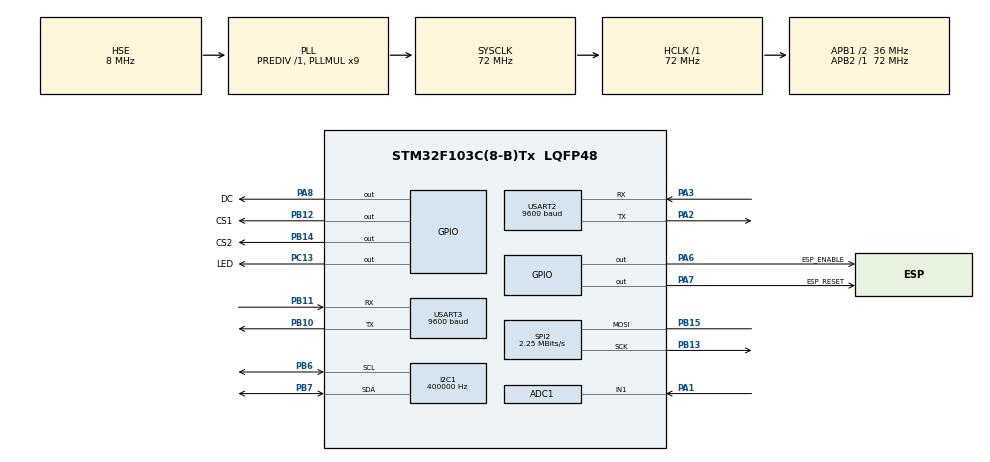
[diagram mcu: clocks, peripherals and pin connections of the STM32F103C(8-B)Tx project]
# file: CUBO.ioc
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ADC1.Channel-0\#ChannelRegularConversion=ADC_CHANNEL_TEMPSENSOR
ADC1.Channel-1\#ChannelRegularConversion=ADC_CHANNEL_VREFINT
ADC1.Channel-2\#ChannelRegularConversion=ADC_CHANNEL_1
ADC1.ContinuousConvMode=ENABLE
ADC1.NbrOfConversion=3
ADC1.NbrOfConversionFlag=1
ADC1.Rank-0\#ChannelRegularConversion=1
ADC1.Rank-1\#ChannelRegularConversion=2
ADC1.Rank-2\#ChannelRegularConversion=3
ADC1.SamplingTime-0\#ChannelRegularConversion=ADC_SAMPLETIME_71CYCLES_5
ADC1.SamplingTime-1\#ChannelRegularConversion=ADC_SAMPLETIME_71CYCLES_5
ADC1.SamplingTime-2\#ChannelRegularConversion=ADC_SAMPLETIME_71CYCLES_5
ADC1.master=1
Dma.ADC1.0.Direction=DMA_PERIPH_TO_MEMORY
Dma.ADC1.0.Instance=DMA1_Channel1
Dma.ADC1.0.MemDataAlignment=DMA_MDATAALIGN_WORD
Dma.ADC1.0.MemInc=DMA_MINC_ENABLE
Dma.ADC1.0.Mode=DMA_CIRCULAR
Dma.ADC1.0.PeriphDataAlignment=DMA_PDATAALIGN_WORD
Dma.ADC1.0.PeriphInc=DMA_PINC_DISABLE
Dma.ADC1.0.Priority=DMA_PRIORITY_LOW
Dma.Request0=ADC1
FREERTOS.Tasks01=defaultTask,0,128,StartDefaultTask,Default,NULL
I2C1.ClockSpeed=400000
I2C1.DutyCycle=I2C_DUTYCYCLE_2
I2C1.I2C_Mode=I2C_Fast
Mcu.Family=STM32F1
Mcu.Name=STM32F103C(8-B)Tx
Mcu.Package=LQFP48
NVIC.DMA1_Channel1_IRQn=true\:5\:0\:false\:false\:true\:true
NVIC.PriorityGroup=NVIC_PRIORITYGROUP_4
NVIC.USART2_IRQn=true\:5\:0\:false\:false\:true\:true
NVIC.USART3_IRQn=true\:5\:0\:false\:false\:true\:true
PA1.Signal=ADCx_IN1
PA13.Mode=Serial_Wire
PA13.Signal=SYS_JTMS-SWDIO
PA14.Mode=Serial_Wire
PA14.Signal=SYS_JTCK-SWCLK
PA2.Mode=Asynchronous
PA2.Signal=USART2_TX
PA3.Mode=Asynchronous
PA3.Signal=USART2_RX
PA6.GPIO_Label=ESP_ENABLE
PA6.Signal=GPIO_Output
PA7.GPIO_Label=ESP_RESET
PA7.Signal=GPIO_Output
PA8.GPIO_Label=DC
PA8.Signal=GPIO_Output
PB10.Mode=Asynchronous
PB10.Signal=USART3_TX
PB11.Mode=Asynchronous
PB11.Signal=USART3_RX
PB12.GPIO_Label=CS1
PB12.Signal=GPIO_Output
PB13.Mode=Simplex_Bidirectional_Master
PB13.Signal=SPI2_SCK
PB14.GPIO_Label=CS2
PB14.Signal=GPIO_Output
PB15.Mode=Simplex_Bidirectional_Master
PB15.Signal=SPI2_MOSI
PB6.Mode=I2C
PB6.Signal=I2C1_SCL
PB7.Mode=I2C
PB7.Signal=I2C1_SDA
PC13-TAMPER-RTC.GPIO_Label=LED
PC13-TAMPER-RTC.Signal=GPIO_Output
PC14-OSC32_IN.Mode=LSE-External-Oscillator
PC14-OSC32_IN.Signal=RCC_OSC32_IN
PC15-OSC32_OUT.Mode=LSE-External-Oscillator
PC15-OSC32_OUT.Signal=RCC_OSC32_OUT
PD0-OSC_IN.Mode=HSE-External-Oscillator
PD0-OSC_IN.Signal=RCC_OSC_IN
PD1-OSC_OUT.Mode=HSE-External-Oscillator
PD1-OSC_OUT.Signal=RCC_OSC_OUT
ProjectManager.HeapSize=0x200
ProjectManager.StackSize=0x400
ProjectManager.TargetToolchain=EWARM
RCC.ADCPresc=RCC_ADCPCLK2_DIV6
RCC.AHBFreq_Value=72000000
RCC.APB1CLKDivider=RCC_HCLK_DIV2
RCC.APB1Freq_Value=36000000
RCC.APB1TimFreq_Value=72000000
RCC.APB2Freq_Value=72000000
RCC.APB2TimFreq_Value=72000000
RCC.HCLKFreq_Value=72000000
RCC.PLLMUL=RCC_PLL_MUL9
RCC.PLLSourceVirtual=RCC_PLLSOURCE_HSE
RCC.RTCClockSelection=RCC_RTCCLKSOURCE_LSE
RCC.SYSCLKFreq_VALUE=72000000
RCC.SYSCLKSource=RCC_SYSCLKSOURCE_PLLCLK
RCC.USBFreq_Value=72000000
SH.ADCx_IN1.0=ADC1_IN1,IN1
SPI2.BaudRatePrescaler=SPI_BAUDRATEPRESCALER_16
SPI2.CalculateBaudRate=2.25 MBits/s
SPI2.Direction=SPI_DIRECTION_1LINE
SPI2.Mode=SPI_MODE_MASTER
SPI2.VirtualType=VM_MASTER
USART2.BaudRate=9600
USART2.VirtualMode=VM_ASYNC
USART3.BaudRate=9600
USART3.VirtualMode=VM_ASYNC
VP_ADC1_TempSens_Input.Mode=IN-TempSens
VP_ADC1_Vref_Input.Mode=IN-Vrefint
VP_FREERTOS_VS_ENABLE.Mode=Enabled
VP_RTC_VS_RTC_Activate.Mode=RTC_Enabled
VP_RTC_VS_RTC_Calendar.Mode=RTC_Calendar
board=CUBO

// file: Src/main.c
/**
  ******************************************************************************
  * File Name          : main.c
  * Description        : Main program body
  ******************************************************************************
  * This notice applies to any and all portions of this file
  * that are not between comment pairs USER CODE BEGIN and
  * USER CODE END. Other portions of this file, whether
  * inserted by the user or by software development tools
  * are owned by their respective copyright owners.
  *
  * Copyright (c) 2018 STMicroelectronics International N.V.
  * All rights reserved.
  *
  * Redistribution and use in source and binary forms, with or without
  * modification, are permitted, provided that the following conditions are met:
  *
  * 1. Redistribution of source code must retain the above copyright notice,
  *    this list of conditions and the following disclaimer.
  * 2. Redistributions in binary form must reproduce the above copyright notice,
  *    this list of conditions and the following disclaimer in the documentation
  *    and/or other materials provided with the distribution.
  * 3. Neither the name of STMicroelectronics nor the names of other
  *    contributors to this software may be used to endorse or promote products
  *    derived from this software without specific written permission.
  * 4. This software, including modifications and/or derivative works of this
  *    software, must execute solely and exclusively on microcontroller or
  *    microprocessor devices manufactured by or for STMicroelectronics.
  * 5. Redistribution and use of this software other than as permitted under
  *    this license is void and will automatically terminate your rights under
  *    this license.
  *
  * THIS SOFTWARE IS PROVIDED BY STMICROELECTRONICS AND CONTRIBUTORS "AS IS"
  * AND ANY EXPRESS, IMPLIED OR STATUTORY WARRANTIES, INCLUDING, BUT NOT
  * LIMITED TO, THE IMPLIED WARRANTIES OF MERCHANTABILITY, FITNESS FOR A
  * PARTICULAR PURPOSE AND NON-INFRINGEMENT OF THIRD PARTY INTELLECTUAL PROPERTY
  * RIGHTS ARE DISCLAIMED TO THE FULLEST EXTENT PERMITTED BY LAW. IN NO EVENT
  * SHALL STMICROELECTRONICS OR CONTRIBUTORS BE LIABLE FOR ANY DIRECT, INDIRECT,
  * INCIDENTAL, SPECIAL, EXEMPLARY, OR CONSEQUENTIAL DAMAGES (INCLUDING, BUT NOT
  * LIMITED TO, PROCUREMENT OF SUBSTITUTE GOODS OR SERVICES; LOSS OF USE, DATA,
  * OR PROFITS; OR BUSINESS INTERRUPTION) HOWEVER CAUSED AND ON ANY THEORY OF
  * LIABILITY, WHETHER IN CONTRACT, STRICT LIABILITY, OR TORT (INCLUDING
  * NEGLIGENCE OR OTHERWISE) ARISING IN ANY WAY OUT OF THE USE OF THIS SOFTWARE,
  * EVEN IF ADVISED OF THE POSSIBILITY OF SUCH DAMAGE.
  *
  ******************************************************************************
  */
#include "main.h"
#include "stm32f1xx_hal.h"
#include "cmsis_os.h"
#include "adc.h"
#include "dma.h"
#include "i2c.h"
#include "rtc.h"
#include "spi.h"
#include "usart.h"
#include "gpio.h"

/* USER CODE BEGIN PV */
/* Private variables ---------------------------------------------------------*/
uint32_t temperatura[5];
/* USER CODE END PV */

void SystemClock_Config(void);
void MX_FREERTOS_Init(void);

/* USER CODE BEGIN PFP */
/* Private function prototypes -----------------------------------------------*/

/* USER CODE END PFP */

int main(void)
{

  /* MCU Configuration----------------------------------------------------------*/

  /* Reset of all peripherals, Initializes the Flash interface and the Systick. */
  HAL_Init();

  /* Configure the system clock */
  SystemClock_Config();

  /* Initialize all configured peripherals */
  MX_GPIO_Init();
  MX_DMA_Init();
  MX_ADC1_Init();
  MX_I2C1_Init();
  MX_SPI2_Init();
  MX_USART2_UART_Init();
  MX_USART3_UART_Init();
  MX_RTC_Init();

  /* USER CODE BEGIN 2 */
  ssd1306_init();
  HAL_ADCEx_Calibration_Start(&hadc1);
  HAL_ADC_Start_DMA(&hadc1, &temperatura[0], 3);

  /* USER CODE END 2 */

  /* Call init function for freertos objects (in freertos.c) */
  MX_FREERTOS_Init();

  /* Start scheduler */
  osKernelStart();

  /* We should never get here as control is now taken by the scheduler */

  /* Infinite loop */
  while (1)
  {

  /* USER CODE BEGIN 3 */
  // Teste de Brach
  }
  /* USER CODE END 3 */

}

/** System Clock Configuration
*/
void SystemClock_Config(void)
{

  RCC_OscInitTypeDef RCC_OscInitStruct;
  RCC_ClkInitTypeDef RCC_ClkInitStruct;
  RCC_PeriphCLKInitTypeDef PeriphClkInit;

    /**Initializes the CPU, AHB and APB busses clocks
    */
  RCC_OscInitStruct.OscillatorType = RCC_OSCILLATORTYPE_HSE|RCC_OSCILLATORTYPE_LSE;
  RCC_OscInitStruct.HSEState = RCC_HSE_ON;
  RCC_OscInitStruct.HSEPredivValue = RCC_HSE_PREDIV_DIV1;
  RCC_OscInitStruct.LSEState = RCC_LSE_ON;
  RCC_OscInitStruct.HSIState = RCC_HSI_ON;
  RCC_OscInitStruct.PLL.PLLState = RCC_PLL_ON;
  RCC_OscInitStruct.PLL.PLLSource = RCC_PLLSOURCE_HSE;
  RCC_OscInitStruct.PLL.PLLMUL = RCC_PLL_MUL9;
  if (HAL_RCC_OscConfig(&RCC_OscInitStruct) != HAL_OK)
  {
    _Error_Handler(__FILE__, __LINE__);
  }

    /**Initializes the CPU, AHB and APB busses clocks
    */
  RCC_ClkInitStruct.ClockType = RCC_CLOCKTYPE_HCLK|RCC_CLOCKTYPE_SYSCLK
                              |RCC_CLOCKTYPE_PCLK1|RCC_CLOCKTYPE_PCLK2;
  RCC_ClkInitStruct.SYSCLKSource = RCC_SYSCLKSOURCE_PLLCLK;
  RCC_ClkInitStruct.AHBCLKDivider = RCC_SYSCLK_DIV1;
  RCC_ClkInitStruct.APB1CLKDivider = RCC_HCLK_DIV2;
  RCC_ClkInitStruct.APB2CLKDivider = RCC_HCLK_DIV1;

  if (HAL_RCC_ClockConfig(&RCC_ClkInitStruct, FLASH_LATENCY_2) != HAL_OK)
  {
    _Error_Handler(__FILE__, __LINE__);
  }

  PeriphClkInit.PeriphClockSelection = RCC_PERIPHCLK_RTC|RCC_PERIPHCLK_ADC;
  PeriphClkInit.RTCClockSelection = RCC_RTCCLKSOURCE_LSE;
  PeriphClkInit.AdcClockSelection = RCC_ADCPCLK2_DIV6;
  if (HAL_RCCEx_PeriphCLKConfig(&PeriphClkInit) != HAL_OK)
  {
    _Error_Handler(__FILE__, __LINE__);
  }

    /**Configure the Systick interrupt time
    */
  HAL_SYSTICK_Config(HAL_RCC_GetHCLKFreq()/1000);

    /**Configure the Systick
    */
  HAL_SYSTICK_CLKSourceConfig(SYSTICK_CLKSOURCE_HCLK);

  /* SysTick_IRQn interrupt configuration */
  HAL_NVIC_SetPriority(SysTick_IRQn, 15, 0);
}

void _Error_Handler(char * file, int line)
{
  while(1)
  {
  }
}

/************************ (C) COPYRIGHT STMicroelectronics *****END OF FILE****/

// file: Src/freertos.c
/**
  ******************************************************************************
  * File Name          : freertos.c
  * Description        : Code for freertos applications
  ******************************************************************************
  * This notice applies to any and all portions of this file
  * that are not between comment pairs USER CODE BEGIN and
  * USER CODE END. Other portions of this file, whether
  * inserted by the user or by software development tools
  * are owned by their respective copyright owners.
  *
  * Copyright (c) 2018 STMicroelectronics International N.V.
  * All rights reserved.
  *
  * Redistribution and use in source and binary forms, with or without
  * modification, are permitted, provided that the following conditions are met:
  *
  * 1. Redistribution of source code must retain the above copyright notice,
  *    this list of conditions and the following disclaimer.
  * 2. Redistributions in binary form must reproduce the above copyright notice,
  *    this list of conditions and the following disclaimer in the documentation
  *    and/or other materials provided with the distribution.
  * 3. Neither the name of STMicroelectronics nor the names of other
  *    contributors to this software may be used to endorse or promote products
  *    derived from this software without specific written permission.
  * 4. This software, including modifications and/or derivative works of this
  *    software, must execute solely and exclusively on microcontroller or
  *    microprocessor devices manufactured by or for STMicroelectronics.
  * 5. Redistribution and use of this software other than as permitted under
  *    this license is void and will automatically terminate your rights under
  *    this license.
  *
  * THIS SOFTWARE IS PROVIDED BY STMICROELECTRONICS AND CONTRIBUTORS "AS IS"
  * AND ANY EXPRESS, IMPLIED OR STATUTORY WARRANTIES, INCLUDING, BUT NOT
  * LIMITED TO, THE IMPLIED WARRANTIES OF MERCHANTABILITY, FITNESS FOR A
  * PARTICULAR PURPOSE AND NON-INFRINGEMENT OF THIRD PARTY INTELLECTUAL PROPERTY
  * RIGHTS ARE DISCLAIMED TO THE FULLEST EXTENT PERMITTED BY LAW. IN NO EVENT
  * SHALL STMICROELECTRONICS OR CONTRIBUTORS BE LIABLE FOR ANY DIRECT, INDIRECT,
  * INCIDENTAL, SPECIAL, EXEMPLARY, OR CONSEQUENTIAL DAMAGES (INCLUDING, BUT NOT
  * LIMITED TO, PROCUREMENT OF SUBSTITUTE GOODS OR SERVICES; LOSS OF USE, DATA,
  * OR PROFITS; OR BUSINESS INTERRUPTION) HOWEVER CAUSED AND ON ANY THEORY OF
  * LIABILITY, WHETHER IN CONTRACT, STRICT LIABILITY, OR TORT (INCLUDING
  * NEGLIGENCE OR OTHERWISE) ARISING IN ANY WAY OUT OF THE USE OF THIS SOFTWARE,
  * EVEN IF ADVISED OF THE POSSIBILITY OF SUCH DAMAGE.
  *
  ******************************************************************************
  */

#include "FreeRTOS.h"
#include "task.h"
#include "cmsis_os.h"

/* USER CODE BEGIN Includes */
#include "ssd1306.h"
#include "fontes.h"
/* USER CODE END Includes */

osThreadId defaultTaskHandle;

/* USER CODE BEGIN Variables */
float temp_lm35 = 0, vref_int = 0, temp_int = 0;
char buffer[10] = {0};
extern uint32_t temperatura[];
/* USER CODE END Variables */

void StartDefaultTask(void const * argument);

void MX_FREERTOS_Init(void); /* (MISRA C 2004 rule 8.1) */

/* Hook prototypes */

/* Init FreeRTOS */

void MX_FREERTOS_Init(void) {

  /* Create the thread(s) */
  /* definition and creation of defaultTask */
  osThreadDef(defaultTask, StartDefaultTask, osPriorityNormal, 0, 128);
  defaultTaskHandle = osThreadCreate(osThread(defaultTask), NULL);

}

/* StartDefaultTask function */
void StartDefaultTask(void const * argument)
{

  /* USER CODE BEGIN StartDefaultTask */
  /* Infinite loop */
  for(;;)
  {
    ssd1306_clear_display();
   // ssd1306_write_text(1, 30, 1, "EU");
    ssd1306_write_text(1, 40, 20, "William");
    //ssd1306_write_text(1, 50, 40, "AMO");
    ssd1306_write_text(1, 40, 48, "Trevine");
    ssd1306_write_display(1);

    ssd1306_clear_display();
    //ssd1306_write_text(1, 44, 2, "CAIRES");
    ssd1306_write_image(11, 0, (uint8_t*) &opala);
    ssd1306_write_display(2);

    //ssd1306_clear_display();
    //ssd1306_write_text(1, 44, 2, "TREVINE");
    //ssd1306_write_display(3);

    osDelay(300);
    ssd1306_clear_display();
    ssd1306_write_display(1);
    ssd1306_write_display(2);
    osDelay(300);

    temp_int = temperatura[0];
    vref_int = temperatura[1];
    vref_int = vref_int * 3.3 /4096;
    temp_lm35 = temperatura[2];
    temp_lm35 = temp_lm35 * 330 / 4096;

    ssd1306_clear_display();

    sprintf(buffer, "%.0f", temp_int);
    ssd1306_write_text(2, 10, 0, buffer);

    sprintf(buffer, "%.3fV", vref_int);
    ssd1306_write_text(2, 10, 20, buffer);

    sprintf(buffer, "%.1f°C", temp_lm35);
    ssd1306_write_text(2, 10, 40, buffer);

    ssd1306_write_display(3);

  }
  /* USER CODE END StartDefaultTask */
}

/************************ (C) COPYRIGHT STMicroelectronics *****END OF FILE****/
